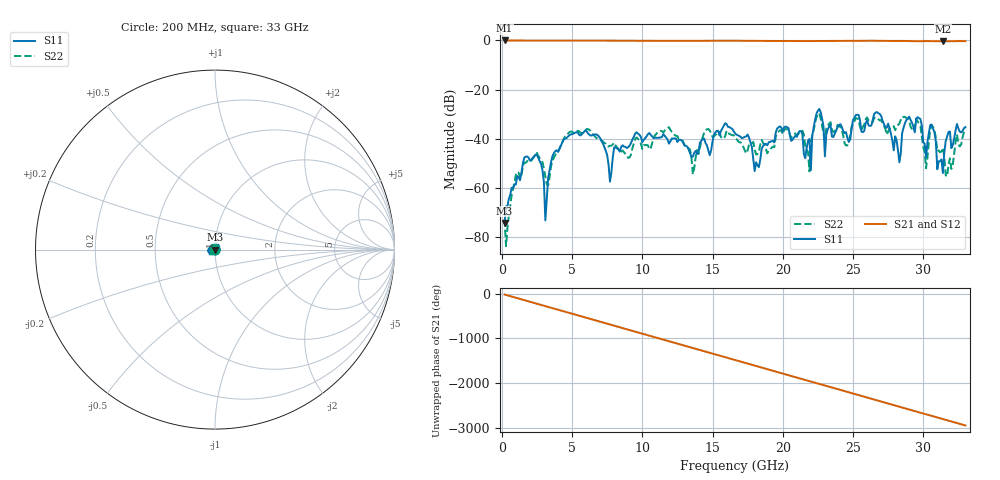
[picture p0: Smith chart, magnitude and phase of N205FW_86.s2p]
# GHZ S RI R 50
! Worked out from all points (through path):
!   329 points, 200 MHz to 33 GHz, reference 50 ohm
!   highest |S21| = -0.02 dB at 200 MHz (marker M1); lowest = -0.4 dB at 31.4 GHz (marker M2)
!   group delay of S21, straight-line fit = 248 ps
!   lowest |S11| = -74.4 dB at 200 MHz (marker M3), VSWR 1.00, Z = 50 + j0.00909 ohm
!   |S11| at or under -10 dB: start of sweep to end of sweep
!   |S22| runs from -83.8 to -29.7 dB; largest |S21 - S12| = 0.0022
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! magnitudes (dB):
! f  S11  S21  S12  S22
! 200 MHz  -74.4  0.0  0.0  -72.9
! 2.4 GHz  -46.5  -0.1  -0.1  -46.2
! 3.1 GHz  -73.3  -0.1  -0.1  -55.6
! 3.6 GHz  -47.2  -0.1  -0.1  -49.0
! 5.7 GHz  -38.2  -0.1  -0.1  -37.7
! 7.7 GHz  -57.5  -0.1  -0.1  -42.9
! 11.2 GHz  -39.6  -0.2  -0.2  -37.1
! 13.6 GHz  -47.3  -0.2  -0.2  -54.5
! 14.5 GHz  -41.7  -0.1  -0.1  -36.5
! 16.6 GHz  -37.8  -0.1  -0.1  -39.4
! 18 GHz  -53.2  -0.2  -0.2  -44.2
! 21.4 GHz  -38.2  -0.3  -0.3  -36.8
! 21.9 GHz  -40.2  -0.3  -0.3  -53.3
! 22 GHz  -52.9  -0.3  -0.3  -41.5
! 22.1 GHz  -38.8  -0.3  -0.2  -38.4
! 27.6 GHz  -35.9  -0.2  -0.2  -35.9
! 28.3 GHz  -49.7  -0.2  -0.2  -33.9
! 29.5 GHz  -31.8  -0.3  -0.3  -31.9
! 30.2 GHz  -47.5  -0.3  -0.3  -52.1
! 30.6 GHz  -34.3  -0.3  -0.3  -34.6
! 31.4 GHz  -54.0  -0.4  -0.4  -43.7
! 33 GHz  -35.3  -0.3  -0.3  -35.9
